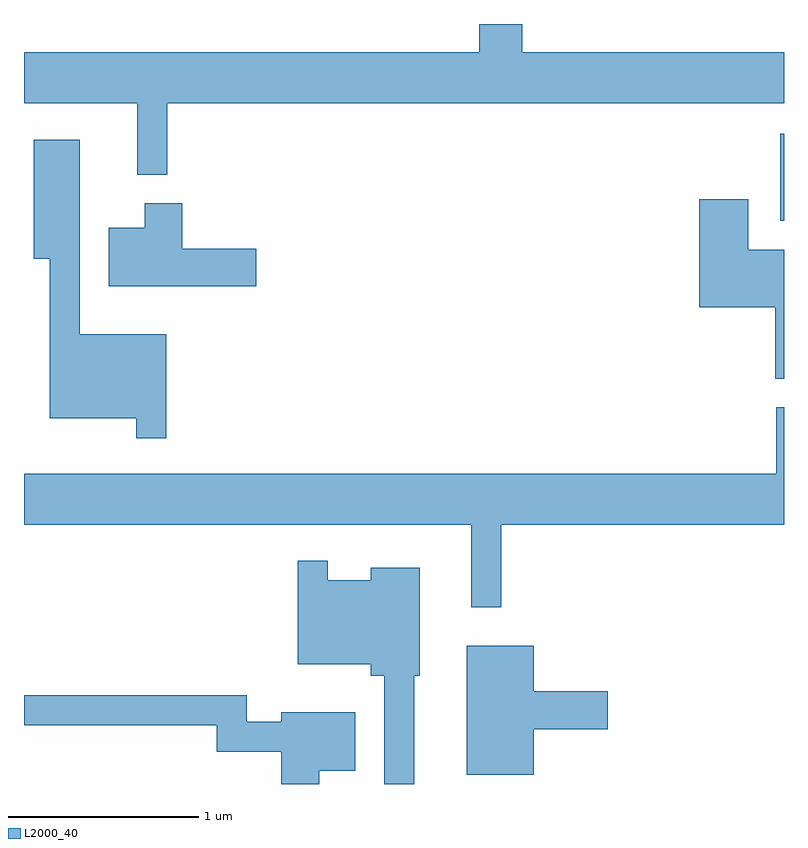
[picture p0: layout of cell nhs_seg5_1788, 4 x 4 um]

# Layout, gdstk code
import gdstk
lib = gdstk.Library(unit=1e-6, precision=1e-09)
def R(c, l, rs):  # rectangles x0, y0, x1, y1
    for r in rs: c.add(gdstk.rectangle(r[:2], r[2:], *l))
def P(c, l, *ps):  # polygons
    for p in ps: c.add(gdstk.Polygon(p, *l))
L2000_40 = (2000, 40)

nhs_seg5_1788 = lib.new_cell('nhs_seg5_1788')
R(nhs_seg5_1788, L2000_40, [(241.591,1485.036,241.611,1485.494)])
P(nhs_seg5_1788, L2000_40, [(238.364,1485.656),(241.611,1485.656),(241.611,1485.924),(240.234,1485.924),(240.234,1486.072),(240.006,1486.072),(240.006,1485.924),(237.611,1485.924),(237.611,1485.656),(238.206,1485.656),(238.206,1485.278),(238.364,1485.278)],
  [(238.359,1484.439),(237.904,1484.439),(237.904,1485.464),(237.661,1485.464),(237.661,1484.836),(237.746,1484.836),(237.746,1483.996),(238.201,1483.996),(238.201,1483.893),(238.359,1483.893)],
  [(241.611,1484.884),(241.424,1484.884),(241.424,1485.149),(241.166,1485.149),(241.166,1484.581),(241.566,1484.581),(241.566,1484.206),(241.611,1484.206)],
  [(238.834,1484.889),(238.444,1484.889),(238.444,1485.129),(238.246,1485.129),(238.246,1484.999),(238.056,1484.999),(238.056,1484.691),(238.834,1484.691)],
  [(240.124,1483.436),(241.611,1483.436),(241.611,1484.054),(241.571,1484.054),(241.571,1483.704),(237.611,1483.704),(237.611,1483.436),(239.966,1483.436),(239.966,1483.003),(240.124,1483.003)],
  [(239.664,1482.641),(239.694,1482.641),(239.694,1483.209),(239.436,1483.209),(239.436,1483.144),(239.209,1483.144),(239.209,1483.248),(239.051,1483.248),(239.051,1482.701),(239.436,1482.701),(239.436,1482.641),(239.506,1482.641),(239.506,1482.072),(239.664,1482.072)],
  [(240.294,1482.361),(240.684,1482.361),(240.684,1482.559),(240.294,1482.559),(240.294,1482.799),(239.941,1482.799),(239.941,1482.121),(240.294,1482.121)],
  [(239.164,1482.141),(239.354,1482.141),(239.354,1482.449),(238.966,1482.449),(238.966,1482.399),(238.784,1482.399),(238.784,1482.539),(237.611,1482.539),(237.611,1482.381),(238.626,1482.381),(238.626,1482.241),(238.966,1482.241),(238.966,1482.072),(239.164,1482.072)])

lib.write_gds('nhs_seg5_1788.gds')
